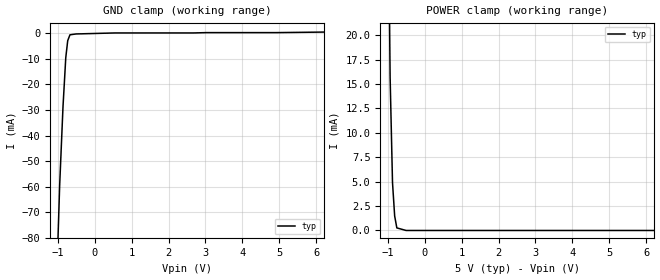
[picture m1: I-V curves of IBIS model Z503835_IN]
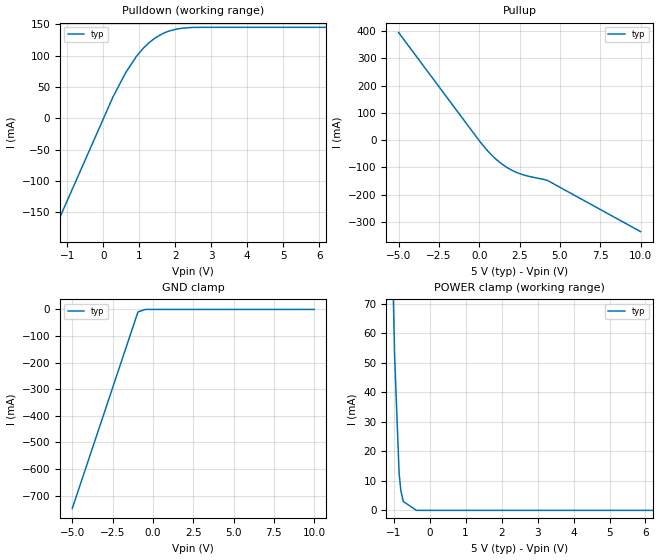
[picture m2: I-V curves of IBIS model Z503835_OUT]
| YOU ARE ONLY AUTHORIZED TO USE THIS SOFTWARE
| ACCORDING TO LICENSOR'S LICENSE RESTRICTIONS.
[IBIS Ver] 3.1
[File Name] mc74act157d.ibs
[File Rev] 2.0
[Source] Measured and created by ICX Technology
[Date] Friday 7/14/00 9:08:01 AM
[Copyright]
| (C) COPYRIGHT 1993-2000
| MENTOR GRAPHICS CORPORATION
| ICX STANDARD LIBRARY, ICX PROJECT MODELING,
| ICX CUSTOM MODELING, ICX VENDOR MODEL
| ALL RIGHTS RESERVED.
| THE FOLLOWING ARE TRADEMARKS OR SERVICE MARKS OF
| MENTOR GRAPHICS CORPORATION:ICX (R), ICX STANDARD
| LIBRARY(R), ICX PROJECT MODELING(R), ICX CUSTOM
| MODELING(R), qualityIBIS(TM), MODELVIEWER(TM),
| AND MODELEDITOR(TM)
| ALL COPIES OF SOFTWARE, INCLUDING BUT NOT LIMITED TO
| ANY MODIFICATIONS, ENHANCEMENTS OR DERIVATIVE WORKS,
| MUST CONTAIN ALL MENTOR GRAPHICS CORPORATION'S
| NOTICES AND LEGENDS, INCLUDING THOSE EMBEDDED IN
| SOFTWARE AND THOSE AFFIXED TO SOFTWARE MEDIUM
| AND CONTAINER, AS RECEIVED FROM MENTOR GRAPHICS
| CORPORATION.
|  ZAP Model Builder 2.7
[Component] MC74ACT157D
[Manufacturer] OnSemiconductor
[Package]
| variable   typ   min   max
R_pkg  .156ohms NA NA
L_pkg  3.148nH NA NA
C_pkg  .388pF NA NA
[Pin] signal_name  model_name  R_pin  L_pin C_pin
1 B_A Z503835_IN .162 3.798n .418p
2 A0 Z503835_IN .158 3.358n .398p
3 B0 Z503835_IN .154 2.928n .378p
4 Y0 Z503835_OUT .15 2.508n .358p
5 A1 Z503835_IN .15 2.508n .358p
6 B1 Z503835_IN .154 2.928n .378p
7 Y1 Z503835_OUT .158 3.358n .398p
8 GROUND GND .162 3.798n .418p
9 Y2 Z503835_OUT .162 3.798n .418p
10 B2 Z503835_IN .158 3.358n .398p
11 A2 Z503835_IN .154 2.928n .378p
12 Y3 Z503835_OUT .15 2.508n .358p
13 B3 Z503835_IN .15 2.508n .358p
14 A3 Z503835_IN .154 2.928n .378p
15 _G Z503835_IN .158 3.358n .398p
16 VCC POWER .162 3.798n .418p
| Models and submodels in the file (2): Z503835_IN (Input), Z503835_OUT (Output)
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| (C) COPYRIGHT 1993-2000
| MENTOR GRAPHICS CORPORATION
| ICX STANDARD LIBRARY, ICX PROJECT MODELING,
| ICX CUSTOM MODELING, ICX VENDOR MODEL
| ALL RIGHTS RESERVED.
| THE FOLLOWING ARE TRADEMARKS OR SERVICE MARKS OF
| MENTOR GRAPHICS CORPORATION:ICX (R), ICX STANDARD
| LIBRARY(R), ICX PROJECT MODELING(R), ICX CUSTOM
| MODELING(R), qualityIBIS(TM), MODELVIEWER(TM),
| AND MODELEDITOR(TM)
| ALL COPIES OF SOFTWARE, INCLUDING BUT NOT LIMITED TO
| ANY MODIFICATIONS, ENHANCEMENTS OR DERIVATIVE WORKS,
| MUST CONTAIN ALL MENTOR GRAPHICS CORPORATION'S
| NOTICES AND LEGENDS, INCLUDING THOSE EMBEDDED IN
| SOFTWARE AND THOSE AFFIXED TO SOFTWARE MEDIUM
| AND CONTAINER, AS RECEIVED FROM MENTOR GRAPHICS
| CORPORATION.
| Model Application Version 1.89 2/18/99.
[Model] Z503835_IN
Model_type Input
Vinl = 800.0mV
Vinh = 2.000V
C_comp 4.000pF NA NA
| variable typ   min   max
[Voltage Range] 5.000V NA NA
[GND Clamp Reference] 0.000V NA NA
[POWER Clamp Reference] 5.000V NA NA
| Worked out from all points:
|   GND clamp passes 1 mA (typ) near -0.68 V on its own axis
|   POWER clamp passes 1 mA (typ) near -0.79 V on its own axis
[GND Clamp]
-5V       -2.652A    NA         NA
-1.011V   -89.02mA   NA         NA
-945.5mV  -59.29mA   NA         NA
-856.4mV  -28.89mA   NA         NA
-780.8mV  -9.519mA   NA         NA
-728.1mV  -2.879mA   NA         NA
-667.2mV  -588uA     NA         NA
550.1mV   131.8uA    NA         NA
4.914V    262.3uA    NA         NA
10V       1.099mA    NA         NA
[POWER Clamp]
-5V       3.421A     NA         NA
-1.151V   131.4mA    NA         NA
-1.035V   54.45mA    NA         NA
-934mV    15.74mA    NA         NA
-869mV    4.906mA    NA         NA
-811mV    1.489mA    NA         NA
-752mV    263.4uA    NA         NA
-501.3mV  0A         NA         NA
10V       0A         NA         NA
| (C) COPYRIGHT 1993-2000
| MENTOR GRAPHICS CORPORATION
| ICX STANDARD LIBRARY, ICX PROJECT MODELING,
| ICX CUSTOM MODELING, ICX VENDOR MODEL
| ALL RIGHTS RESERVED.
| THE FOLLOWING ARE TRADEMARKS OR SERVICE MARKS OF
| MENTOR GRAPHICS CORPORATION:ICX (R), ICX STANDARD
| LIBRARY(R), ICX PROJECT MODELING(R), ICX CUSTOM
| MODELING(R), qualityIBIS(TM), MODELVIEWER(TM),
| AND MODELEDITOR(TM)
| ALL COPIES OF SOFTWARE, INCLUDING BUT NOT LIMITED TO
| ANY MODIFICATIONS, ENHANCEMENTS OR DERIVATIVE WORKS,
| MUST CONTAIN ALL MENTOR GRAPHICS CORPORATION'S
| NOTICES AND LEGENDS, INCLUDING THOSE EMBEDDED IN
| SOFTWARE AND THOSE AFFIXED TO SOFTWARE MEDIUM
| AND CONTAINER, AS RECEIVED FROM MENTOR GRAPHICS
| CORPORATION.
| Model Application Version 1.89 2/18/99.
[Model] Z503835_OUT
Model_type Output
Vref=0.000V
Rref=500.0ohms
Cref=50.00pF
Vmeas=1.500V
C_comp 8.000pF NA NA
| variable typ   min   max
[Voltage Range] 5.000V NA NA
[POWER Clamp Reference] 5.000V NA NA
[Pullup Reference] 5.000V NA NA
[Pulldown Reference] 0.000V NA NA
[GND Clamp Reference] 0.000V NA NA
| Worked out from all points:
|   slope of the pulldown table from 0 to 0.75 V, typ, clamps not added: 8.84 ohm
|   slope of the pullup table from 0 to 0.75 V, typ, clamps not added: 14.6 ohm
[GND Clamp]
-5V       -748.2mA   NA         NA
-927.4mV  -9.619mA   NA         NA
-463.7mV  0A         NA         NA
10V       0A         NA         NA
[Pulldown]
-5V       -651.4mA   NA         NA
269.1mV   34.34mA    NA         NA
625.1mV   73.34mA    NA         NA
918.9mV   98.81mA    NA         NA
1.123V    112.7mA    NA         NA
1.294V    121.8mA    NA         NA
1.426V    127.7mA    NA         NA
1.719V    137mA      NA         NA
2.046V    142.6mA    NA         NA
2.526V    145.2mA    NA         NA
10V       145.3mA    NA         NA
[Pullup]
-5V       394.9mA    NA         NA
36mV      -5.131mA   NA         NA
630mV     -46.5mA    NA         NA
1.084V    -72.56mA   NA         NA
1.655V    -98.09mA   NA         NA
2.407V    -120.9mA   NA         NA
4.238V    -148.4mA   NA         NA
10V       -336mA     NA         NA
[POWER Clamp]
-5V       2.391A     NA         NA
-976mV    52.84mA    NA         NA
-849mV    12.47mA    NA         NA
-801mV    6.625mA    NA         NA
-732mV    2.986mA    NA         NA
-366mV    0A         NA         NA
10V       0A         NA         NA
[Ramp]
| variable typ min max
dV/dt_r 2.936/408.9p NA NA
dV/dt_f 2.936/360.9p NA NA
R_load = 500.0Ohms
